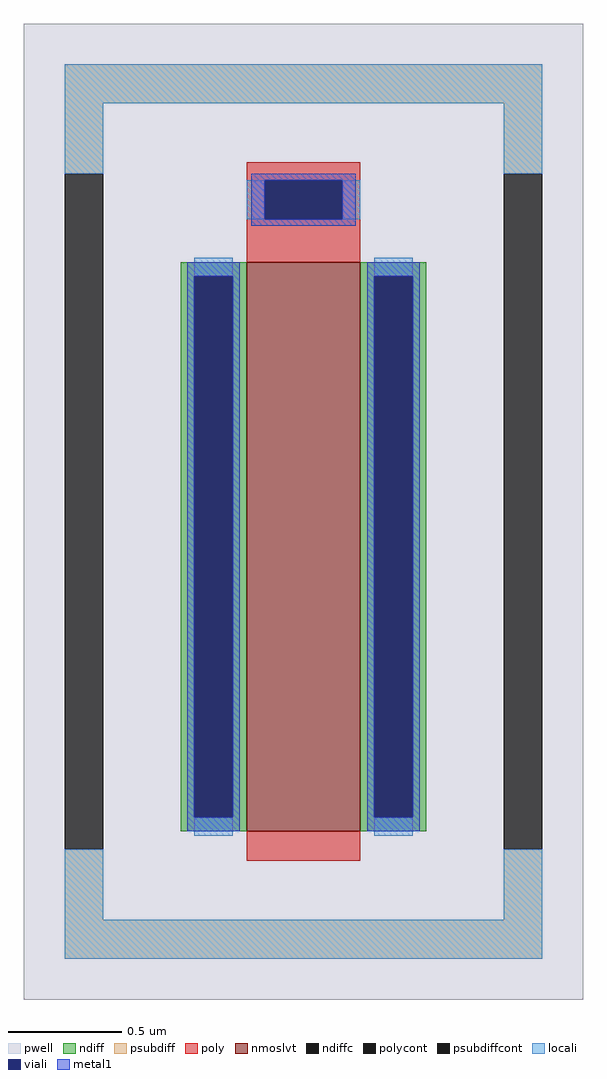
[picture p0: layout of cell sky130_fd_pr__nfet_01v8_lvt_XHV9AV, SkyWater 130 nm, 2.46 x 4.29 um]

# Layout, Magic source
magic
tech sky130A
magscale 1 2
<< pwell >>
rect -246 -429 246 429
<< nmoslvt >>
rect -50 -281 50 219
<< ndiff >>
rect -108 207 -50 219
rect -108 -269 -96 207
rect -62 -269 -50 207
rect -108 -281 -50 -269
rect 50 207 108 219
rect 50 -269 62 207
rect 96 -269 108 207
rect 50 -281 108 -269
<< ndiffc >>
rect -96 -269 -62 207
rect 62 -269 96 207
<< psubdiff >>
rect -210 359 210 393
rect -210 297 -176 359
rect 176 297 210 359
rect -210 -359 -176 -297
rect 176 -359 210 -297
rect -210 -393 210 -359
<< psubdiffcont >>
rect -210 -297 -176 297
rect 176 -297 210 297
<< poly >>
rect -50 291 50 307
rect -50 257 -34 291
rect 34 257 50 291
rect -50 219 50 257
rect -50 -307 50 -281
<< polycont >>
rect -34 257 34 291
<< locali >>
rect -210 359 210 393
rect -210 297 -176 359
rect 176 297 210 359
rect -50 257 -34 291
rect 34 257 50 291
rect -96 207 -62 223
rect -96 -285 -62 -269
rect 62 207 96 223
rect 62 -285 96 -269
rect -210 -359 -176 -297
rect 176 -359 210 -297
rect -210 -393 210 -359
<< viali >>
rect -34 257 34 291
rect -96 -269 -62 207
rect 62 -269 96 207
<< metal1 >>
rect -46 291 46 297
rect -46 257 -34 291
rect 34 257 46 291
rect -46 251 46 257
rect -102 207 -56 219
rect -102 -269 -96 207
rect -62 -269 -56 207
rect -102 -281 -56 -269
rect 56 207 102 219
rect 56 -269 62 207
rect 96 -269 102 207
rect 56 -281 102 -269
<< properties >>
string FIXED_BBOX -193 -376 193 376
string gencell sky130_fd_pr__nfet_01v8_lvt
string library sky130
string parameters w 2.5 l 0.5 m 1 nf 1 diffcov 100 polycov 100 guard 1 glc 1 grc 1 gtc 0 gbc 0 tbcov 100 rlcov 100 topc 1 botc 0 poverlap 0 doverlap 1 lmin 0.15 wmin 0.42 compatible {sky130_fd_pr__nfet_01v8 sky130_fd_pr__nfet_01v8_lvt  sky130_fd_bs_flash__special_sonosfet_star  sky130_fd_pr__nfet_g5v0d10v5 sky130_fd_pr__nfet_05v0_nvt  sky130_fd_pr__nfet_03v3_nvt} full_metal 1 viasrc 100 viadrn 100 viagate 100 viagb 0 viagr 0 viagl 0 viagt 0
<< end >>
